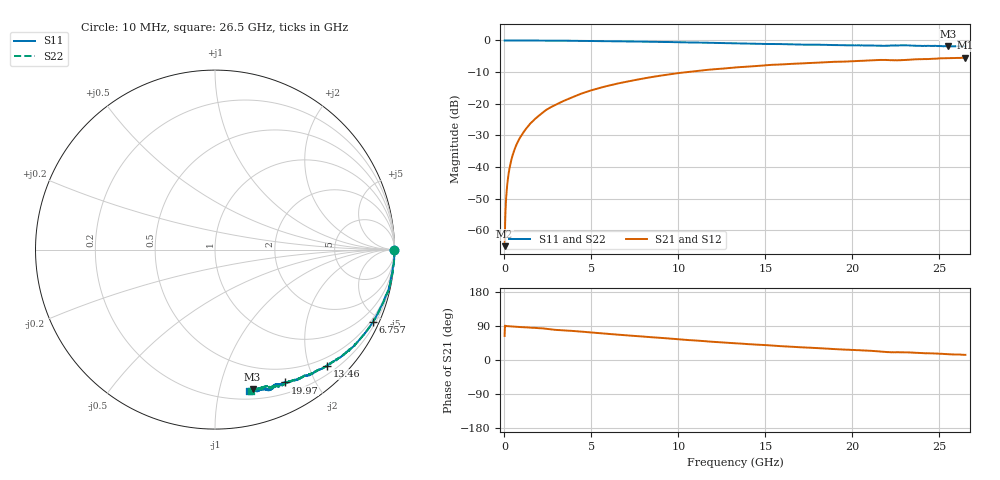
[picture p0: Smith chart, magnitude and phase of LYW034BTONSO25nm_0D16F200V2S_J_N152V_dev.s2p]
!Keysight Technologies,N5222B,MY61253708,A.15.00.15
!Date: Wednesday, June 19, 2024 10:11:59
!Correction: S11(C  2-Port  )
!S21(C  2-Port  )
!S12(C  2-Port  )
!S22(C  2-Port  )
!S2P File: Measurements: S11, S21, S12, S22:
# Hz S  RI  R 50
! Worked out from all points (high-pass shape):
!   2651 points, 10 MHz to 26.5 GHz, reference 50 ohm
!   highest |S21| = -5.42 dB at 26.5 GHz (marker M1); lowest = -65.0 dB at 10 MHz (marker M2)
!   |S21| within 3 dB of the highest: 13.57 GHz to end of sweep
!   lowest |S11| = -1.9 dB at 25.5 GHz (marker M3), VSWR 9.20, Z = 14.4 - j63.2 ohm
!   |S11| at or under -10 dB: nowhere
!   |S22| runs from -1.8 to 0.0 dB; largest |S21 - S12| = 0.0058
!   S11 on the Smith chart (normalised r, x): 10 MHz: open; 6.757 GHz: 0.36, -4.58; 13.46 GHz: 0.34, -2.32; 19.97 GHz: 0.33, -1.61; 26.5 GHz: 0.27, -1.23
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1e7  0.9985 -0.00279  0.000249 0.000501  6.66e-06 0.000167  0.9986 -0.00182
7.997358e7  1 -0.00562  1.11e-05 0.0026  -8.65e-07 0.00263  0.9994 -0.00525
1.499472e8  1 -0.0106  5.12e-05 0.0049  5.36e-05 0.00492  0.9996 -0.0101
1.799358e8  1 -0.0118  7.05e-05 0.00587  6.43e-05 0.00591  0.9996 -0.0114
2.29917e8  0.9998 -0.0156  0.000116 0.00751  0.000118 0.00754  0.9994 -0.0148
3.19883e8  0.9998 -0.0211  0.000198 0.0105  0.000198 0.0105  0.9995 -0.0202
4.49834e8  0.999 -0.0303  0.000422 0.0146  0.000433 0.0147  0.9989 -0.0294
5.997774e8  0.9988 -0.0392  0.000769 0.0196  0.000744 0.0196  0.999 -0.0389
7.897057e8  0.9984 -0.0519  0.00132 0.0256  0.00131 0.0258  0.9978 -0.0515
1.429464e9  0.9909 -0.0951  0.00319 0.0464  0.00321 0.0465  0.9937 -0.0921
2.309132e9  0.9832 -0.1484  0.00931 0.0758  0.00952 0.0762  0.9842 -0.1492
3.198796e9  0.9726 -0.2043  0.0203 0.1023  0.0205 0.1027  0.972 -0.204
4.428332e9  0.9443 -0.2773  0.0373 0.1397  0.0376 0.1403  0.9458 -0.2748
6.757453e9  0.8808 -0.4015  0.0874 0.1968  0.0884 0.1972  0.882 -0.4016
8.846664e9  0.808 -0.498  0.1419 0.2348  0.143 0.2351  0.8091 -0.497
1.3255e10  0.6346 -0.6393  0.2677 0.2604  0.2695 0.2598  0.6375 -0.6383
1.346492e10  0.6261 -0.6474  0.274 0.2605  0.2751 0.259  0.6275 -0.6433
1.767333e10  0.4644 -0.7211  0.374 0.2344  0.3766 0.2325  0.4734 -0.7186
1.997246e10  0.3903 -0.7403  0.4187 0.2107  0.4208 0.2081  0.4019 -0.7385
2.209166e10  0.329 -0.7562  0.4573 0.1735  0.4584 0.1705  0.3215 -0.762
2.550038e10  0.2096 -0.776  0.5073 0.1379  0.5081 0.1373  0.2288 -0.7776
2.65e10  0.1898 -0.7897  0.5207 0.1266  0.5197 0.1228  0.2024 -0.7875
